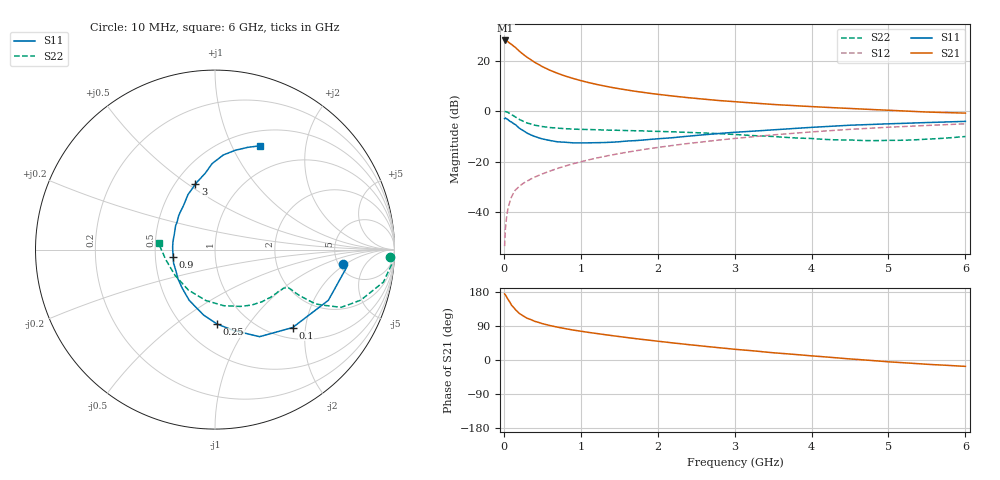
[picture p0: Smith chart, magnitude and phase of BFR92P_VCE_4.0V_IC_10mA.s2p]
! Infineon Technologies  Discrete & RF Semiconductors
! BFR92P
! VCE =  4.0 V,  IC =  10 mA
! Common Emitter S-Parameters:  Apr 2014
# GHz  S  MA  R  50
!  f  S11  S21  S12  S22
! GHz  MAG  ANG  MAG  ANG  MAG  ANG  MAG  ANG
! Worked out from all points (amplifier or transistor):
!   77 points, 10 MHz to 6 GHz, reference 50 ohm
!   highest |S21| = 28.1 dB at 20 MHz (marker M1)
!   |S21| within 3 dB of that: start of sweep to 158.1 MHz
!   unconditionally stable (mu >= 1): 729.6 MHz to 2.474 GHz
!   at 130 MHz: K = 0.38, MSG = 29.0 dB, |S12| = -32.3 dB
!   at 2.2 GHz: K = 1.02, MAG = 8.9 dB, |S12| = -13.5 dB
!   at 6 GHz: K = 0.87, MSG = 2.1 dB, |S12| = -5.0 dB
!   S11 on the Smith chart (normalised r, x): 10 MHz: 5.45, -1.79; 100 MHz: 1.22, -1.70; 250 MHz: 0.72, -0.72; 900 MHz: 0.62, -0.05; 3 GHz: 0.63, +0.54; 6 GHz: 0.67, +1.29
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0.01  0.7163 -6.4  25.08 174.4  0.0021 85.5  0.9755 -2.3
0.02  0.739 -7.9  25.48 172.1  0.0045 88.5  0.9895 -4.5
0.05  0.6918 -24.1  24.34 161.3  0.0109 80.6  0.9558 -10.9
0.1  0.613 -45.1  21.28 144.7  0.02 71.6  0.8599 -19.1
0.15  0.545 -62.9  18.52 133.0  0.0273 66.3  0.7727 -24.6
0.2  0.4629 -76.9  15.71 123.1  0.0322 64.1  0.6907 -26.8
0.25  0.4152 -88.3  13.57 116.6  0.037 63.2  0.6364 -28.4
0.3  0.3706 -99.8  11.86 110.4  0.041 62.4  0.5877 -28.5
0.4  0.3175 -116.8  9.388 102.2  0.0492 63.4  0.5306 -28.5
0.5  0.283 -129.9  7.709 96.0  0.0571 64.5  0.4978 -28.0
0.6  0.263 -141.6  6.523 90.9  0.0651 65.4  0.4759 -27.6
0.7  0.2473 -151.9  5.66 86.6  0.0736 65.9  0.4625 -27.5
0.8  0.2428 -161.8  4.995 82.7  0.0821 66.4  0.4516 -28.0
0.9  0.2364 -170.4  4.489 79.1  0.0907 66.9  0.4433 -28.8
1.1  0.2365 176.3  3.721 72.9  0.1083 66.7  0.4346 -30.6
1.5  0.2484 153.9  2.804 61.9  0.1446 65.2  0.4189 -35.8
2.1  0.2916 129.6  2.088 47.4  0.2007 61.1  0.395 -45.9
3  0.3828 106.5  1.552 28.3  0.2882 52.8  0.3469 -65.9
3.1  0.391 104.5  1.512 26.6  0.2982 51.5  0.339 -68.7
4.1  0.4889 90.4  1.218 9.4  0.3988 40.1  0.281 -104.5
5.1  0.5704 77.3  1.032 -6.0  0.4906 26.9  0.2649 -151.6
6  0.6311 66.5  0.92 -16.8  0.5649 14.7  0.3157 173.8
